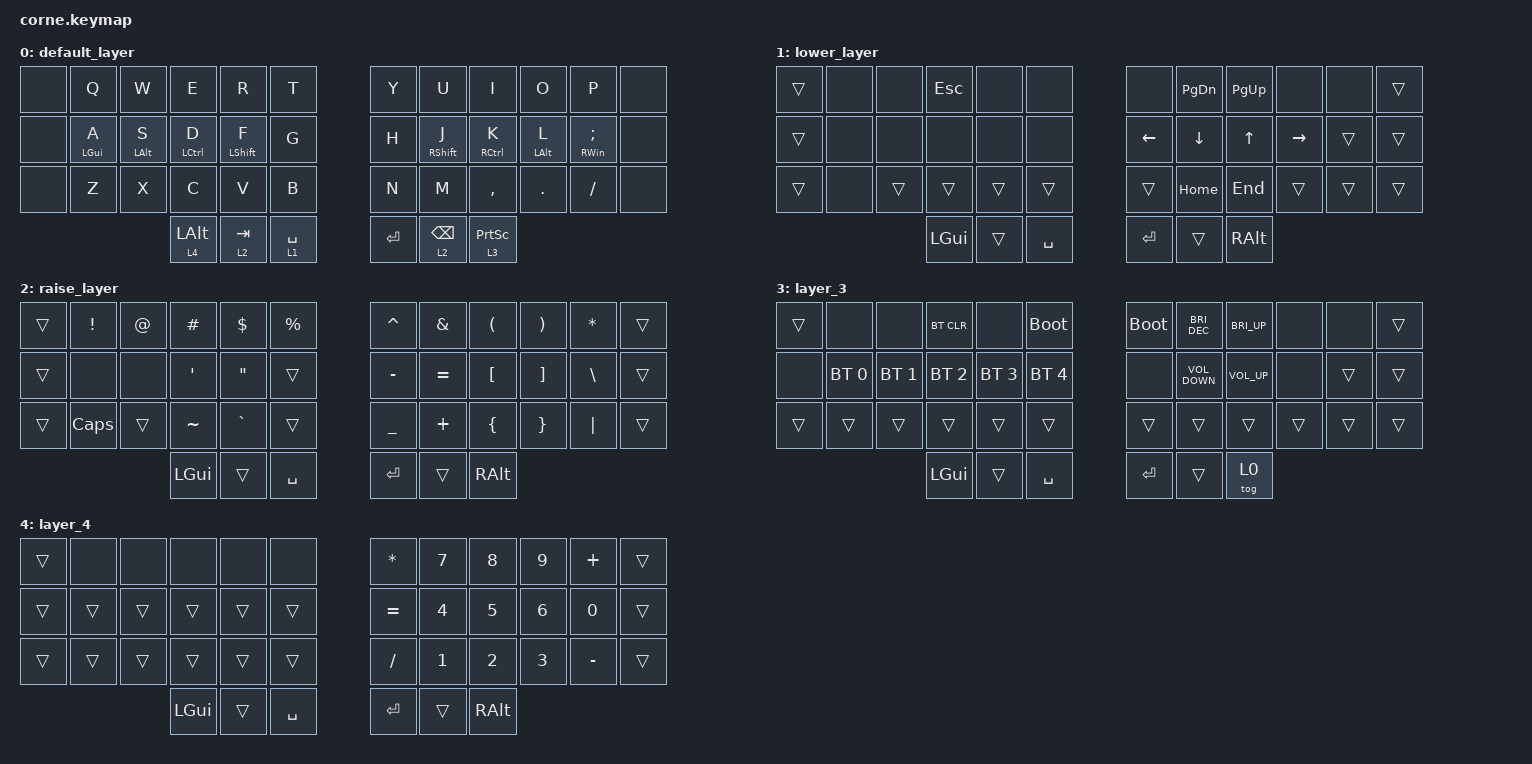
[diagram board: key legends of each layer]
/*
 * Copyright (c) 2020 The ZMK Contributors
 *
 * SPDX-License-Identifier: MIT
 */

#include <behaviors.dtsi>
#include <dt-bindings/zmk/bt.h>
#include <dt-bindings/zmk/keys.h>

/ {
    behaviors {
        hmr: hmr {
            compatible = "zmk,behavior-hold-tap";
            label = "HMR";
            bindings = <&kp>, <&kp>;

            #binding-cells = <2>;
            tapping-term-ms = <150>;
            quick-tap-ms = <250>;
            flavor = "balanced";
            hold-trigger-key-positions = <0 1 2 3 4 5 12 13 14 15 16 17 24 25 26 27 28 29 36 37 38 39 40 41>;
        };

        hml: hml {
            compatible = "zmk,behavior-hold-tap";
            label = "HML";
            bindings = <&kp>, <&kp>;

            #binding-cells = <2>;
            tapping-term-ms = <150>;
            quick-tap-ms = <250>;
            flavor = "balanced";
            hold-trigger-key-positions = <6 7 9 10 11 18 19 20 21 22 23 30 31 32 33 34 35 39 40 41 36 37 38 8>;
        };

        hmlw: hmlw {
            compatible = "zmk,behavior-hold-tap";
            label = "HMLW";
            bindings = <&kp>, <&kp>;

            #binding-cells = <2>;
            tapping-term-ms = <150>;
            quick-tap-ms = <350>;
            flavor = "balanced";
            hold-trigger-key-positions = <6 7 9 10 11 18 19 20 21 22 23 30 31 32 33 34 35 39 40 41 36 37 38 8>;
        };

        hmrw: hmrw {
            compatible = "zmk,behavior-hold-tap";
            label = "HMRW";
            bindings = <&kp>, <&kp>;

            #binding-cells = <2>;
            tapping-term-ms = <150>;
            quick-tap-ms = <350>;
            flavor = "balanced";
            hold-trigger-key-positions = <0 1 2 3 4 5 12 13 14 15 16 17 24 25 26 27 28 29 36 37 38 39 40 41>;
        };
    };

    keymap {
        compatible = "zmk,keymap";

        default_layer {
            // -----------------------------------------------------------------------------------------
            // |  TAB |  Q  |  W  |  E  |  R  |  T  |   |  Y  |  U   |  I  |  O  |  P  | BSPC |
            // | CTRL |  A  |  S  |  D  |  F  |  G  |   |  H  |  J   |  K  |  L  |  ;  |  '   |
            // | SHFT |  Z  |  X  |  C  |  V  |  B  |   |  N  |  M   |  ,  |  .  |  /  | ESC  |
            //                    | GUI | LWR | SPC |   | ENT | RSE  | ALT |

            bindings = <
&none  &kp Q             &kp W             &kp E         &kp R         &kp T          &kp Y    &kp U            &kp I              &kp O             &kp P                      &none
&none  &hmlw LEFT_GUI A  &hmlw LEFT_ALT S  &hml LCTRL D  &hml LSHFT F  &kp G          &kp H    &hmr RSHFT J     &hmr RCTRL K       &hmrw LEFT_ALT L  &hmrw RIGHT_WIN SEMICOLON  &none
&none  &kp Z             &kp X             &kp C         &kp V         &kp B          &kp N    &kp M            &kp COMMA          &kp DOT           &kp FSLH                   &none
                                           &lt 4 LALT    &lt 2 TAB     &lt 1 SPACE    &kp RET  &lt 2 BACKSPACE  &lt 3 PRINTSCREEN
            >;
        };

        lower_layer {
            // -----------------------------------------------------------------------------------------
            // |  TAB |  1  |  2  |  3  |  4  |  5  |   |  6  |  7  |  8  |  9  |  0  | BSPC |
            // | BTCLR| BT1 | BT2 | BT3 | BT4 | BT5 |   | LFT | DWN |  UP | RGT |     |      |
            // | SHFT |     |     |     |     |     |   |     |     |     |     |     |      |
            //                    | GUI |     | SPC |   | ENT |     | ALT |

            bindings = <
&trans  &none  &none   &kp ESC   &none   &none        &none     &kp PAGE_DOWN  &kp PG_UP  &none      &none   &trans
&trans  &none  &none   &none     &none   &none        &kp LEFT  &kp DOWN       &kp UP     &kp RIGHT  &trans  &trans
&trans  &none  &trans  &trans    &trans  &trans       &trans    &kp HOME       &kp END    &trans     &trans  &trans
                       &kp LGUI  &trans  &kp SPACE    &kp RET   &trans         &kp RALT
            >;
        };

        raise_layer {
            // -----------------------------------------------------------------------------------------
            // |  TAB |  !  |  @  |  #  |  $  |  %  |   |  ^  |  &  |  *  |  (  |  )  | BSPC |
            // | CTRL |     |     |     |     |     |   |  -  |  =  |  [  |  ]  |  \  |  `   |
            // | SHFT |     |     |     |     |     |   |  _  |  +  |  {  |  }  | "|" |  ~   |
            //                    | GUI |     | SPC |   | ENT |     | ALT |

            bindings = <
&trans  &kp EXCL  &kp AT  &kp HASH          &kp DLLR           &kp PRCNT    &kp CARET  &kp AMPS   &kp LEFT_PARENTHESIS  &kp RIGHT_PARENTHESIS  &kp ASTERISK  &trans
&trans  &none     &none   &kp SINGLE_QUOTE  &kp DOUBLE_QUOTES  &trans       &kp MINUS  &kp EQUAL  &kp LBKT              &kp RBKT               &kp BSLH      &trans
&trans  &kp CAPS  &trans  &kp TILDE         &kp GRAVE          &trans       &kp UNDER  &kp PLUS   &kp LBRC              &kp RBRC               &kp PIPE      &trans
                          &kp LGUI          &trans             &kp SPACE    &kp RET    &trans     &kp RALT
            >;
        };

        layer_3 {
            bindings = <
&trans  &none         &none         &bt BT_CLR    &none         &bootloader     &bootloader  &kp C_BRI_DEC      &kp C_BRI_UP     &none   &none   &trans
&none   &bt BT_SEL 0  &bt BT_SEL 1  &bt BT_SEL 2  &bt BT_SEL 3  &bt BT_SEL 4    &none        &kp C_VOLUME_DOWN  &kp C_VOLUME_UP  &none   &trans  &trans
&trans  &trans        &trans        &trans        &trans        &trans          &trans       &trans             &trans           &trans  &trans  &trans
                                    &kp LGUI      &trans        &kp SPACE       &kp RET      &trans             &tog 0
            >;
        };

        layer_4 {
            bindings = <
&trans  &none   &none   &none     &none   &none        &kp ASTERISK  &kp N7        &kp N8         &kp N9        &kp PLUS   &trans
&trans  &trans  &trans  &trans    &trans  &trans       &kp EQUAL     &kp NUMBER_4  &kp N5         &kp NUMBER_6  &kp N0     &trans
&trans  &trans  &trans  &trans    &trans  &trans       &kp SLASH     &kp NUMBER_1  &kp NUMBER_2   &kp NUMBER_3  &kp MINUS  &trans
                        &kp LGUI  &trans  &kp SPACE    &kp RET       &trans        &kp RIGHT_ALT
            >;
        };
    };
};
